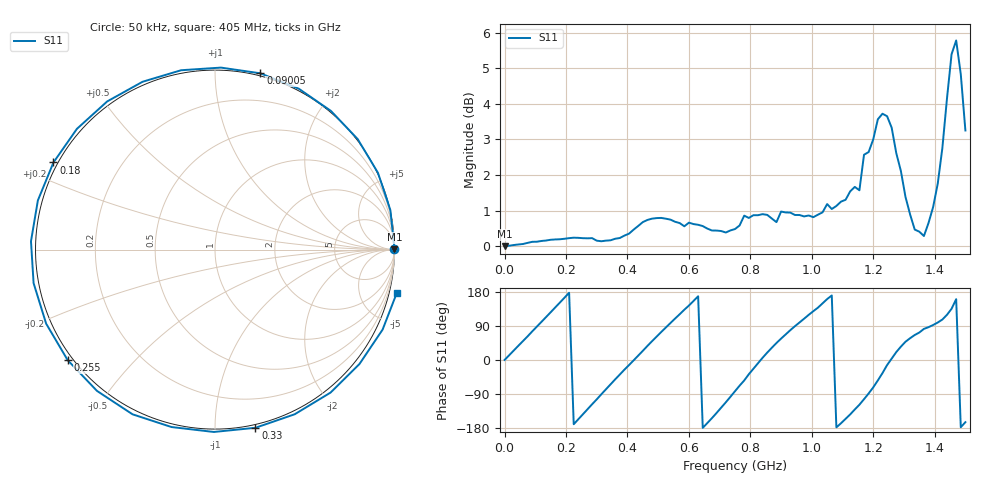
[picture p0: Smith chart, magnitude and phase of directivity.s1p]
! Created with skrf 1.8.0 (http://scikit-rf.org).
# Hz S RI R 50.0
!freq ReS11 ImS11
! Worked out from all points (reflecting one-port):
!   101 points, 50 kHz to 1.5 GHz, reference 50 ohm
!   lowest |S11| = 0.0 dB at 50 kHz (marker M1)
!   phase of S11 starts at 0 deg and turns +1276 deg over the sweep
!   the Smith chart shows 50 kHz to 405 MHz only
!   S11 on the Smith chart (normalised r, x): 50 kHz: open; 90.05 MHz: -0.02, +1.29; 180 MHz: -0.01, +0.25; 255 MHz: -0.01, -0.33; 330 MHz: -0.02, -1.25; 405 MHz: -1.44, -8.25
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50000  1 0.00209
9.0047e7  0.2528 0.9821
1.80044e8  -0.8998 0.4858
1.950435e8  -0.9869 0.274
2.550415e8  -0.8208 -0.6159
3.30039e8  0.2256 -0.9927
3.750375e8  0.8049 -0.6374
4.050365e8  1.013 -0.2417
4.50035e8  0.9859 0.4434
4.950335e8  0.5166 0.9656
5.70031e8  -0.5521 0.9254
6.60028e8  -1.028 -0.2514
7.50025e8  0.1396 -1.048
7.950235e8  0.8685 -0.6679
8.40022e8  1.103 0.1173
9.0002e8  0.6188 0.9316
9.450185e8  0.0172 1.106
1.050015e9  -1.082 0.3777
1.125012e9  -0.9607 -0.709
1.170011e9  -0.3105 -1.308
1.20001e9  0.4304 -1.345
1.245008e9  1.48 -0.3564
1.275008e9  1.262 0.4821
1.320006e9  0.5956 0.9345
1.425002e9  -0.3958 1.315
1.455002e9  -1.32 1.311
1.470001e9  -1.834 0.6477
1.5e9  -1.398 -0.3999
